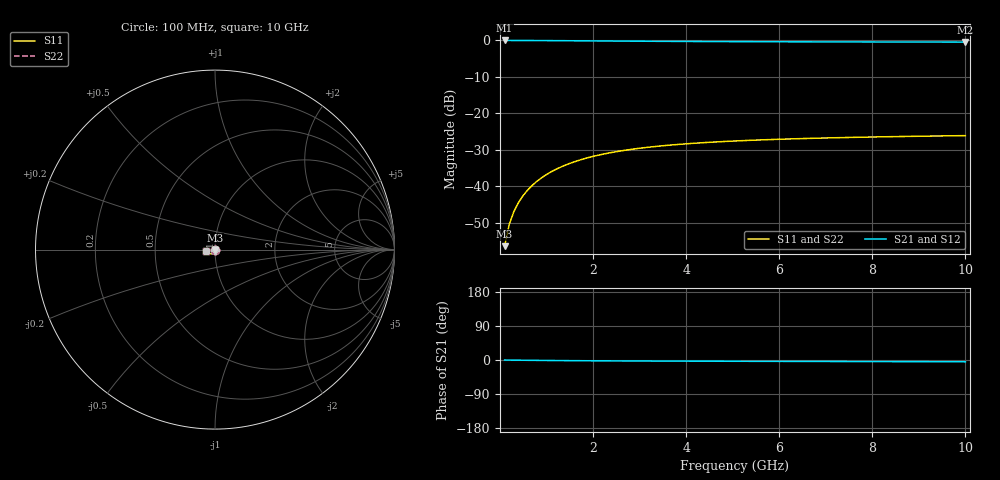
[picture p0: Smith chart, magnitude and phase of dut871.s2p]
! Touchstone file exported from HFSS 2024.1.0
!  File:  C:/UserFiles/LocalFiles/RDL_TSV_Batchsim/temp_TSV1_871_1779882806.aedt
!  Generated:  07:59:46 PM May 27, 2026
!  Design:  TSV1
!  Project:  temp_TSV1_871_1779882806
!  Setup:  Setup1
!  Solution:  Sweep
! Variables:
!  dtsv = 13.96um
!  hbump = 3um
!  htsv = 70.59um
!  lrdl = 252.1521522um
!  p = 40
!  p1 = 55.28um
!  t = 500um
!  trdl = 3um
!  wrdl = 24.89489489um
# GHz S MA R 50.000000
! Terminal data exported
! Port[1] = TSV22_T1
! Port[2] = TSV22_T2
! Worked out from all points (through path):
!   100 points, 100 MHz to 10 GHz, reference 50 ohm
!   highest |S21| = 0.00 dB at 100 MHz (marker M1); lowest = -0.4 dB at 10 GHz (marker M2)
!   lowest |S11| = -56.4 dB at 100 MHz (marker M3), VSWR 1.00, Z = 50 - j0.151 ohm
!   |S11| at or under -10 dB: start of sweep to end of sweep
!   |S22| runs from -56.4 to -26.1 dB; largest |S21 - S12| = 4.2e-15
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0.1  0.001509 -89.0  0.9999 -0.1  0.9999 -0.1  0.001509 -89.0
! Gamma 0 0 0 0
! Port Impedance 50 0 50 0
0.2  0.003017 -92.1  0.9997 -0.3  0.9997 -0.3  0.003017 -92.1
0.3  0.004521 -94.5  0.9994 -0.4  0.9994 -0.4  0.004521 -94.5
0.4  0.006016 -96.6  0.9991 -0.5  0.9991 -0.5  0.006016 -96.6
0.5  0.007495 -98.6  0.9986 -0.6  0.9986 -0.6  0.007495 -98.6
0.6  0.008953 -100.5  0.9981 -0.8  0.9981 -0.8  0.008953 -100.5
0.7  0.01038 -102.5  0.9975 -0.9  0.9975 -0.9  0.01038 -102.5
0.8  0.01179 -104.3  0.9968 -1.0  0.9968 -1.0  0.01179 -104.3
0.9  0.01316 -106.2  0.9961 -1.1  0.9961 -1.1  0.01316 -106.2
1.1  0.01579 -109.7  0.9944 -1.3  0.9944 -1.3  0.01579 -109.7
1.4  0.01945 -114.7  0.9917 -1.6  0.9917 -1.6  0.01945 -114.7
1.6  0.02169 -117.8  0.9897 -1.8  0.9897 -1.8  0.02169 -117.8
1.8  0.02377 -120.8  0.9877 -2.0  0.9877 -2.0  0.02377 -120.8
2.1  0.02659 -124.9  0.9847 -2.2  0.9847 -2.2  0.02659 -124.9
2.5  0.02985 -129.9  0.9808 -2.4  0.9808 -2.4  0.02985 -129.9
2.9  0.03261 -134.3  0.9772 -2.6  0.9772 -2.6  0.03261 -134.3
3.4  0.03547 -139.2  0.9732 -2.8  0.9732 -2.8  0.03547 -139.2
4.2  0.03902 -145.8  0.9677 -3.1  0.9677 -3.1  0.03902 -145.8
5.1  0.04195 -151.8  0.963 -3.4  0.963 -3.4  0.04195 -151.8
6.7  0.04548 -160.1  0.957 -3.8  0.957 -3.8  0.04548 -160.1
8.4  0.04791 -166.9  0.9528 -4.3  0.9528 -4.3  0.04791 -166.9
10  0.04951 -172.2  0.9501 -4.7  0.9501 -4.7  0.04951 -172.2
